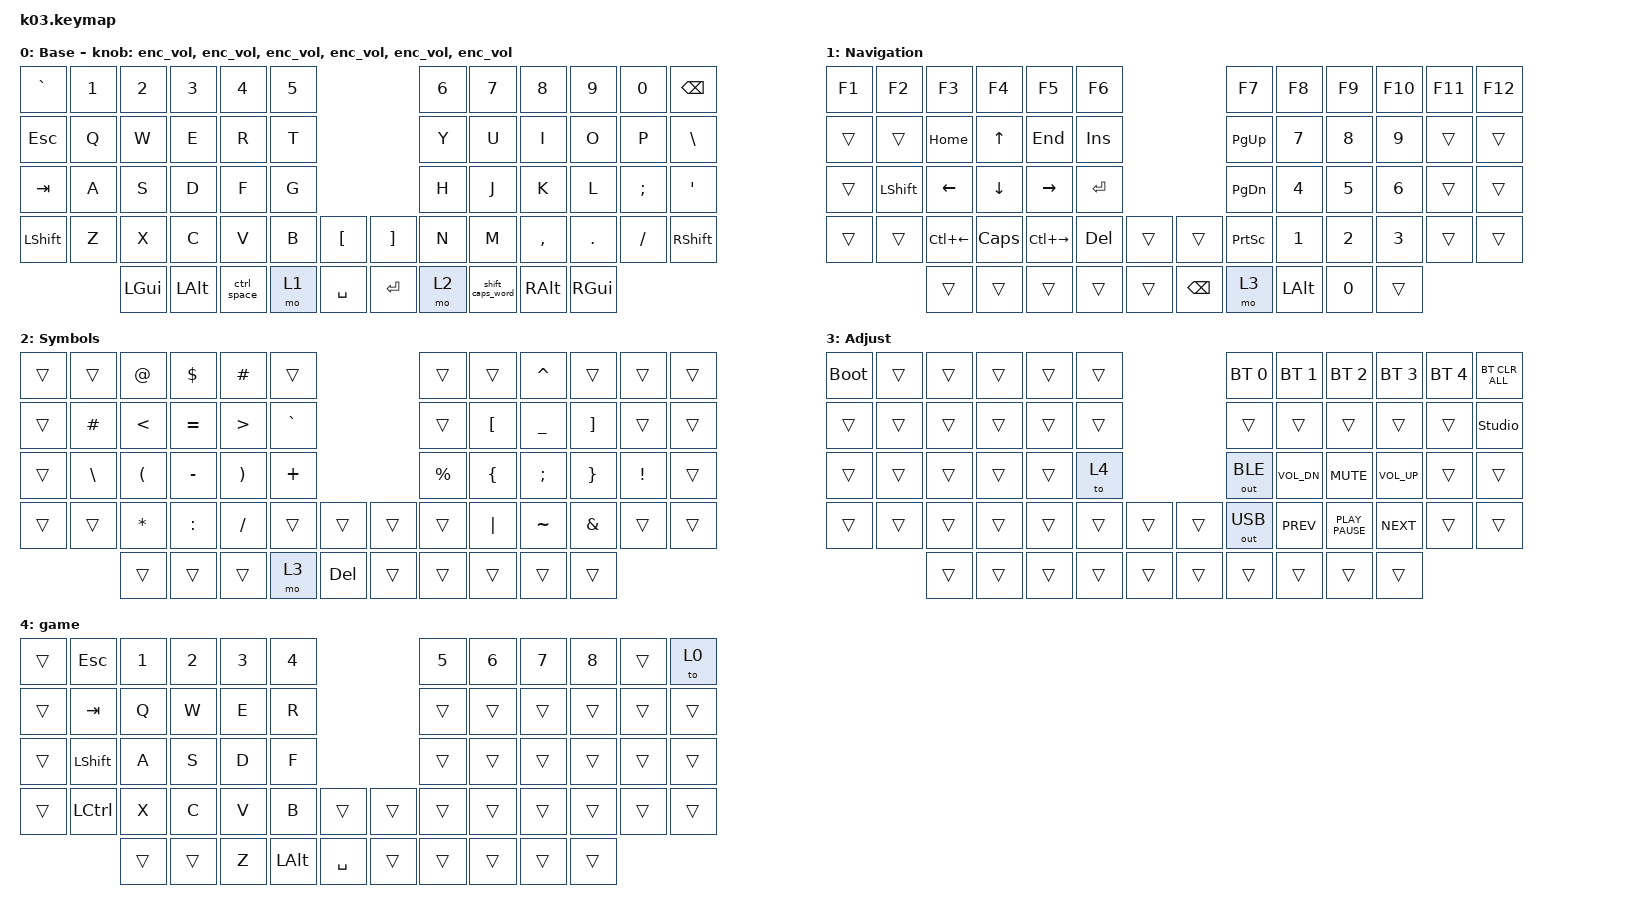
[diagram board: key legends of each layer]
#include "keys_ru.h"
#include <behaviors.dtsi>
#include <dt-bindings/zmk/bt.h>
#include <dt-bindings/zmk/keys.h>
#include <dt-bindings/zmk/outputs.h>

/ {
    behaviors {
        enc_vol: enc_vol {
            compatible = "zmk,behavior-sensor-rotate";
            label = "ENC_VOL";
            #sensor-binding-cells = <0>;
            bindings = <&kp C_VOL_UP>, <&kp C_VOL_DN>;
        };

        shift_caps_word: sh_cps {
            compatible = "zmk,behavior-tap-dance";
            label = "SHIFT_C";
            #binding-cells = <0>;
            bindings = <&sk LEFT_SHIFT>, <&caps_word>;

            tapping-term-ms = <200>;
        };

        ctrl_space: ctrl_space {
            compatible = "zmk,behavior-tap-dance";
            label = "CTRL_SPACE";
            #binding-cells = <0>;
            bindings = <&kp LCTRL>, <&kp LC(SPACE)>;
        };
    };

    keymap {
        compatible = "zmk,keymap";

        base {
            bindings = <
&kp GRAVE  &kp N1  &kp N2    &kp N3    &kp N4       &kp N5                          &kp N6  &kp N7            &kp N8     &kp N9    &kp N0    &kp BSPC
&kp ESC    &kp Q   &kp W     &kp E     &kp R        &kp T                           &kp Y   &kp U             &kp I      &kp O     &kp P     &kp BSLH
&kp TAB    &kp A   &kp S     &kp D     &kp F        &kp G                           &kp H   &kp J             &kp K      &kp L     &kp SEMI  &kp SQT
&kp LSHFT  &kp Z   &kp X     &kp C     &kp V        &kp B   &kp LBKT     &kp RBKT   &kp N   &kp M             &kp COMMA  &kp DOT   &kp FSLH  &kp RSHFT
                   &kp LGUI  &kp LALT  &ctrl_space  &mo 1   &kp SPACE    &kp ENTER  &mo 2   &shift_caps_word  &kp RALT   &kp RGUI
            >;

            display-name = "Base";
            sensor-bindings =
                <&enc_vol>,
                <&enc_vol>,
                <&enc_vol>,
                <&enc_vol>,
                <&enc_vol>,
                <&enc_vol>;
        };

        nav {
            bindings = <
&kp F1  &kp F2      &kp F3        &kp F4    &kp F5         &kp F6                            &kp F7           &kp F8        &kp F9  &kp F10  &kp F11  &kp F12
&trans  &trans      &kp HOME      &kp UP    &kp END        &kp INS                           &kp PG_UP        &kp N7        &kp N8  &kp N9   &trans   &trans
&trans  &kp LSHIFT  &kp LEFT      &kp DOWN  &kp RIGHT      &kp RET                           &kp PG_DN        &kp N4        &kp N5  &kp N6   &trans   &trans
&trans  &trans      &kp LC(LEFT)  &kp CAPS  &kp LC(RIGHT)  &kp DEL  &trans    &trans         &kp PRINTSCREEN  &kp N1        &kp N2  &kp N3   &trans   &trans
                    &trans        &trans    &trans         &trans   &trans    &kp BACKSPACE  &mo 3            &kp LEFT_ALT  &kp N0  &trans
            >;

            display-name = "Navigation";
        };

        sym {
            bindings = <
&trans  &trans    &kp AT    &kp DLLR   &kp HASH  &trans                           &trans     &trans    &kp CARET  &trans    &trans    &trans
&trans  &kp HASH  &kp LT    &kp EQUAL  &kp GT    &kp GRAVE                        &trans     &kp LBKT  &kp UNDER  &kp RBKT  &trans    &trans
&trans  &kp BSLH  &kp LPAR  &kp MINUS  &kp RPAR  &kp PLUS                         &kp PRCNT  &kp LBRC  &kp SEMI   &kp RBRC  &kp EXCL  &trans
&trans  &trans    &kp STAR  &kp COLON  &kp FSLH  &trans     &trans        &trans  &trans     &kp PIPE  &kp TILDE  &kp AMPS  &trans    &trans
                  &trans    &trans     &trans    &mo 3      &kp DELETE    &trans  &trans     &trans    &trans     &trans
            >;

            display-name = "Symbols";
        };

        adj {
            bindings = <
&bootloader  &trans  &trans  &trans  &trans  &trans                    &bt BT_SEL 0  &bt BT_SEL 1  &bt BT_SEL 2      &bt BT_SEL 3  &bt BT_SEL 4  &bt BT_CLR_ALL
&trans       &trans  &trans  &trans  &trans  &trans                    &trans        &trans        &trans            &trans        &trans        &studio_unlock
&trans       &trans  &trans  &trans  &trans  &to 4                     &out OUT_BLE  &kp C_VOL_DN  &kp K_MUTE        &kp C_VOL_UP  &trans        &trans
&trans       &trans  &trans  &trans  &trans  &trans  &trans    &trans  &out OUT_USB  &kp K_PREV    &kp K_PLAY_PAUSE  &kp K_NEXT    &trans        &trans
                     &trans  &trans  &trans  &trans  &trans    &trans  &trans        &trans        &trans            &trans
            >;

            display-name = "Adjust";
        };

        game {
            bindings = <
&trans  &kp ESC         &kp NUMBER_1  &kp NUMBER_2  &kp NUMBER_3  &kp NUMBER_4                       &kp N5  &kp N6  &kp N7  &kp N8  &trans  &to 0
&trans  &kp TAB         &kp Q         &kp W         &kp E         &kp R                              &trans  &trans  &trans  &trans  &trans  &trans
&trans  &kp LEFT_SHIFT  &kp A         &kp S         &kp D         &kp F                              &trans  &trans  &trans  &trans  &trans  &trans
&trans  &kp LCTRL       &kp X         &kp C         &kp V         &kp B         &trans       &trans  &trans  &trans  &trans  &trans  &trans  &trans
                        &trans        &trans        &kp Z         &kp LEFT_ALT  &kp SPACE    &trans  &trans  &trans  &trans  &trans
            >;
        };
    };
};
